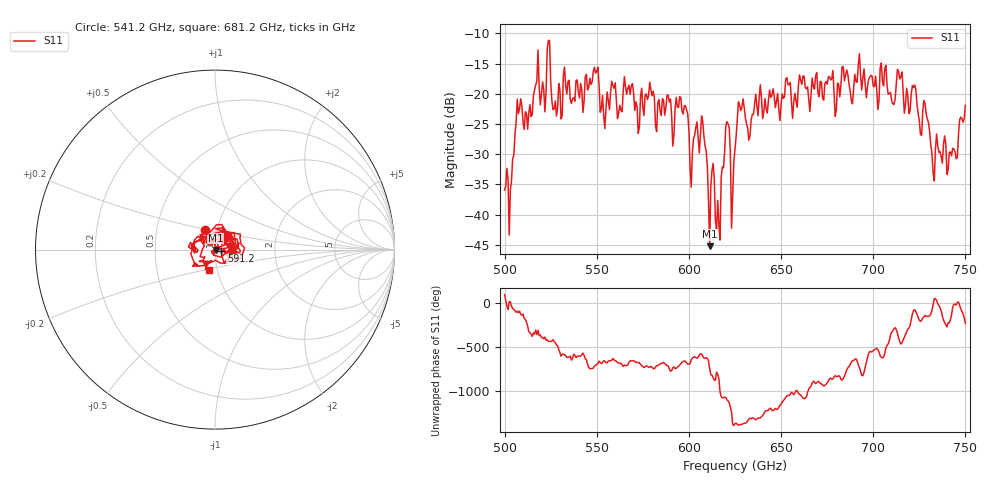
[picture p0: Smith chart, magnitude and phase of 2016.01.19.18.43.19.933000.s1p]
!Created with skrf (http://scikit-rf.org).
# GHz S RI R 50.0
!freq ReS11 ImS11
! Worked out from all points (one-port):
!   401 points, 500 GHz to 750 GHz, reference 50 ohm
!   lowest |S11| = -45.2 dB at 611.2 GHz (marker M1), VSWR 1.01, Z = 50.5 - j0.248 ohm
!   |S11| at or under -10 dB: start of sweep to end of sweep
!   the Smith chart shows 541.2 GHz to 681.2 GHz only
!   S11 on the Smith chart (normalised r, x): 541.2 GHz: 0.88, +0.19; 591.2 GHz: 1.07, -0.02; 681.2 GHz: 0.91, -0.21
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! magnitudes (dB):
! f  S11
! 500 GHz  -35.9
! 503.8 GHz  -34.4
! 508.1 GHz  -22.4
! 523.8 GHz  -11.2
! 526.9 GHz  -22.5
! 531.2 GHz  -23.6
! 541.2 GHz  -18.3
! 549.4 GHz  -16.6
! 553.1 GHz  -20.3
! 562.5 GHz  -21.9
! 591.2 GHz  -28.7
! 593.8 GHz  -22.2
! 601.2 GHz  -35.5
! 607.5 GHz  -24.6
! 611.2 GHz  -45.2
! 615.6 GHz  -37.7
! 620.6 GHz  -24.6
! 623.8 GHz  -36.8
! 625 GHz  -29.2
! 628.1 GHz  -22.8
! 656.2 GHz  -24.1
! 681.2 GHz  -18.5
! 687.5 GHz  -19.6
! 714.4 GHz  -17.6
! 718.8 GHz  -20.4
! 728.8 GHz  -23.4
! 732.5 GHz  -33.1
! 750 GHz  -21.9
